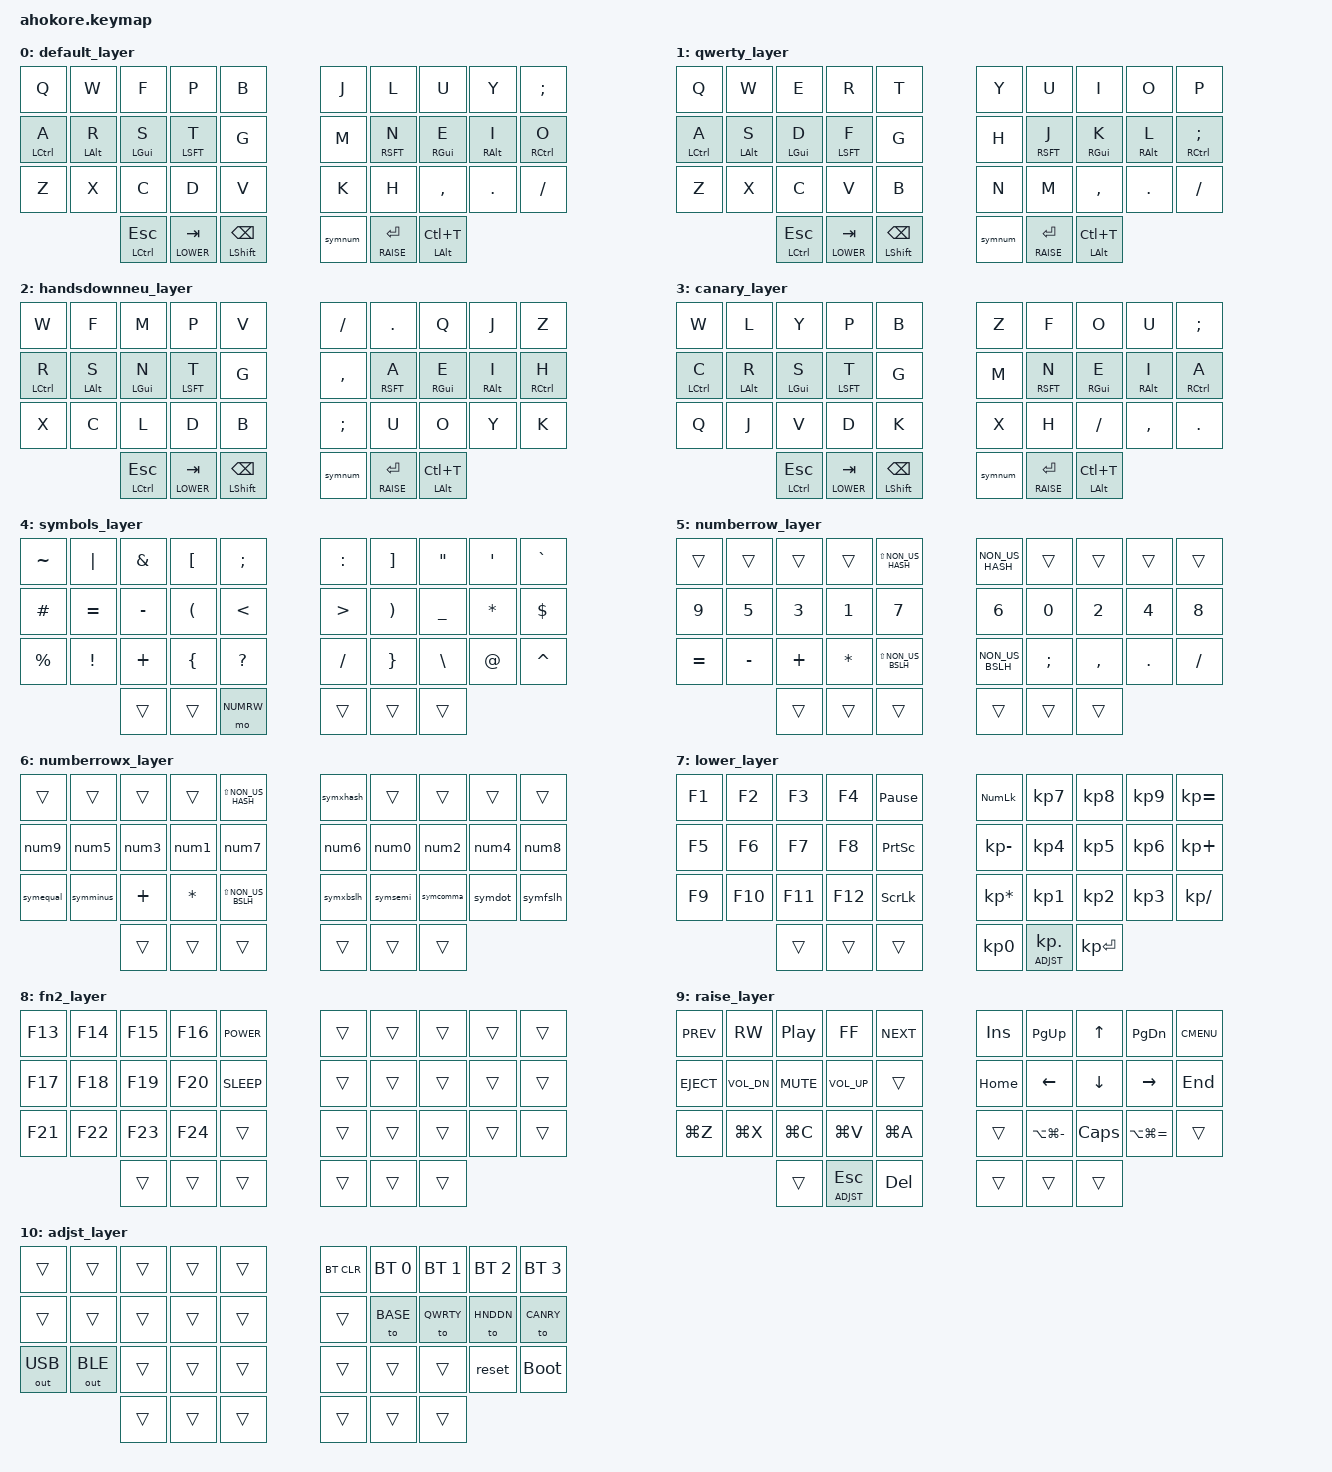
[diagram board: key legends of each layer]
/*
 * Copyright (c) 2020 The ZMK Contributors
 *
 * SPDX-License-Identifier: MIT
 */

#include <behaviors.dtsi>
#include <dt-bindings/zmk/keys.h>
#include <dt-bindings/zmk/bt.h>
#include <dt-bindings/zmk/outputs.h>

#define BASE  0     // alphas (Colemak-DH)
#define QWRTY 1     // alphas (Qwerty)
#define HNDDN 2     // alphas (Hands Down Neu)
#define CANRY 3     // alphas (Canary)
#define SYMBL 4     // symbols
#define NUMRW 5     // number row
#define NUMRX 6     // number row (shifted)
#define LOWER 7     // functions & keypad
#define FN2   8     // functions2
#define RAISE 9     // multimedia & navigation
#define ADJST 10    // bluetooth

// Special keys
#define ZOOMOUT      LA(LG(MINUS))
#define ZOOMIN       LA(LG(EQUAL))
#define M_UNDO       LG(Z)
#define M_CUT        LG(X)
#define M_COPY       LG(C)
#define M_PASTE      LG(V)
#define M_SELAL      LG(A)
#define M_TMUX       LC(T)
#define NON_US_TILDE LS(NON_US_HASH)
#define NON_US_PIPE  LS(NON_US_BSLH)

#define NUMROW_MACRO(name, key) \
    ZMK_MACRO(name, \
        wait-ms = <30>; \
        tap-ms = <30>; \
        bindings = <&macro_release &kp LSHFT>, <&macro_tap key>, <&macro_press &kp LSHFT>; \
    )

&mt {
    quick-tap-ms = <200>;
};

&lt {
    quick-tap-ms = <200>;
};


/ {
    behaviors {
        hm: homerow_mods {
            compatible = "zmk,behavior-hold-tap";
            label = "HOMEROW_MODS";
            #binding-cells = <2>;
            flavor = "tap-preferred";
            tapping_term_ms = <250>;
            quick_tap_ms = <250>;
            global-quick-tap;
            bindings = <&kp>, <&kp>;
        };

        symnum: symbol_numrow {
            compatible = "zmk,behavior-mod-morph";
            label = "SYMBOL_NUMROW";
            #binding-cells = <0>;
            bindings = <&lt SYMBL SPACE>, <&lt NUMRX SPACE>;
            mods = <(MOD_LSFT)>;
        };

// (Combos)
// -------------------------------     -------------------------------
// |     |     |     |     |     |     |     |     |     |     |     |
// |     |     |     |     |     |     |     |     |     |     |     |
// |     |     |     |     |     |     |     |     |     |     |     |
// ------------|<-- Fn2 -->|     |     |     |     |     |------------
//             -------------------     -------------------

        combos {
            compatible = "zmk,combos";
            combo_fn2 {
                timeout-ms = <50>;
                key-positions = <30 31>;
                bindings = <&mo FN2>;
                layers = <BASE QWRTY HNDDN CANRY>;
            };
        };
    };

    macros {
        NUMROW_MACRO(num0, &kp N0)
        NUMROW_MACRO(num1, &kp N1)
        NUMROW_MACRO(num2, &kp N2)
        NUMROW_MACRO(num3, &kp N3)
        NUMROW_MACRO(num4, &kp N4)
        NUMROW_MACRO(num5, &kp N5)
        NUMROW_MACRO(num6, &kp N6)
        NUMROW_MACRO(num7, &kp N7)
        NUMROW_MACRO(num8, &kp N8)
        NUMROW_MACRO(num9, &kp N9)
        NUMROW_MACRO(symequal, &kp EQUAL)
        NUMROW_MACRO(symminus, &kp MINUS)
        NUMROW_MACRO(symsemi,  &kp SEMI)
        NUMROW_MACRO(symcomma, &kp COMMA)
        NUMROW_MACRO(symdot,   &kp DOT)
        NUMROW_MACRO(symfslh,  &kp FSLH)
        NUMROW_MACRO(symxhash, &kp NON_US_HASH)
        NUMROW_MACRO(symxbslh, &kp NON_US_BSLH)
    };

    keymap {
        compatible = "zmk,keymap";

        default_layer {
// (Hold)
// -------------------------------     -------------------------------
// |     |     |     |     |     |     |     |     |     |     |     |
// |LCtrl| LAlt| LGui|Shift|     |     |     |Shift| RGui| RAlt|RCtrl|
// |     |     |     |     |     |     |     |     |     |     |     |
// ------------|LCtrl|LOWER|LShft|     |SYMBL|RAISE| LAlt|------------
//             -------------------     -------------------
// Colemak-DH
// -------------------------------     -------------------------------
// |  Q  |  W  |  F  |  P  |  B  |     |  J  |  L  |  U  |  Y  |  ;  |
// |  A  |  R  |  S  |  T  |  G  |     |  M  |  N  |  E  |  I  |  O  |
// |  Z  |  X  |  C  |  D  |  V  |     |  K  |  H  |  ,  |  .  |  /  |
// ------------| Esc | Tab |BkSpc|     |Space|Enter| Tmux|------------
//             -------------------     -------------------
            bindings = <
    &kp Q       &kp W      &kp F         &kp P         &kp B          &kp J   &kp L           &kp U           &kp Y      &kp SEMI
    &hm LCTRL A &hm LALT R &hm LGUI S    &hm LSFT T    &kp G          &kp M   &hm RSFT N      &hm RGUI E      &hm RALT I &hm RCTRL O
    &kp Z       &kp X      &kp C         &kp D         &kp V          &kp K   &kp H           &kp COMMA       &kp DOT    &kp FSLH
                           &mt LCTRL ESC &lt LOWER TAB &mt LSHFT BSPC &symnum &lt RAISE ENTER &mt LALT M_TMUX
            >;
        };

        qwerty_layer {
// (Hold)
// -------------------------------     -------------------------------
// |     |     |     |     |     |     |     |     |     |     |     |
// |LCtrl| LAlt| LGui|Shift|     |     |     |Shift| RGui| RAlt|RCtrl|
// |     |     |     |     |     |     |     |     |     |     |     |
// ------------|LCtrl|LOWER|LShft|     |SYMBL|RAISE| LAlt|------------
//             -------------------     -------------------
// Colemak-DH
// -------------------------------     -------------------------------
// |  Q  |  W  |  E  |  R  |  T  |     |  Y  |  U  |  I  |  O  |  P  |
// |  A  |  S  |  D  |  F  |  G  |     |  H  |  J  |  K  |  L  |  ;  |
// |  Z  |  X  |  C  |  V  |  B  |     |  N  |  M  |  ,  |  .  |  /  |
// ------------| Esc | Tab |BkSpc|     |Space|Enter| Tmux|------------
//             -------------------     -------------------
            bindings = <
    &kp Q       &kp W      &kp E         &kp R         &kp T          &kp Y   &kp U           &kp I           &kp O      &kp P
    &hm LCTRL A &hm LALT S &hm LGUI D    &hm LSFT F    &kp G          &kp H   &hm RSFT J      &hm RGUI K      &hm RALT L &hm RCTRL SEMI
    &kp Z       &kp X      &kp C         &kp V         &kp B          &kp N   &kp M           &kp COMMA       &kp DOT    &kp FSLH
                           &mt LCTRL ESC &lt LOWER TAB &mt LSHFT BSPC &symnum &lt RAISE ENTER &mt LALT M_TMUX
            >;
        };

        handsdownneu_layer {
// (Hold)
// -------------------------------     -------------------------------
// |     |     |     |     |     |     |     |     |     |     |     |
// |LCtrl| LAlt| LGui|Shift|     |     |     |Shift| RGui| RAlt|RCtrl|
// |     |     |     |     |     |     |     |     |     |     |     |
// ------------|LCtrl|LOWER|LShft|     |SYMBL|RAISE| LAlt|------------
//             -------------------     -------------------
// Hands Down Neu 30
// -------------------------------     -------------------------------
// |  W  |  F  |  M  |  P  |  V  |     |  /  |  .  |  Q  |  J  |  Z  |
// |  R  |  S  |  N  |  T  |  G  |     |  ,  |  A  |  E  |  I  |  H  |
// |  X  |  C  |  L  |  D  |  B  |     |  ;  |  U  |  O  |  Y  |  K  |
// ------------| Esc | Tab |BkSpc|     |Space|Enter| Tmux|------------
//             -------------------     -------------------
            bindings = <
    &kp W       &kp F      &kp M         &kp P         &kp V          &kp FSLH  &kp DOT         &kp Q           &kp J      &kp Z
    &hm LCTRL R &hm LALT S &hm LGUI N    &hm LSFT T    &kp G          &kp COMMA &hm RSFT A      &hm RGUI E      &hm RALT I &hm RCTRL H
    &kp X       &kp C      &kp L         &kp D         &kp B          &kp SEMI  &kp U           &kp O           &kp Y      &kp K
                           &mt LCTRL ESC &lt LOWER TAB &mt LSHFT BSPC &symnum   &lt RAISE ENTER &mt LALT M_TMUX
            >;
        };

        canary_layer {
// (Hold)
// -------------------------------     -------------------------------
// |     |     |     |     |     |     |     |     |     |     |     |
// |LCtrl| LAlt| LGui|Shift|     |     |     |Shift| RGui| RAlt|RCtrl|
// |     |     |     |     |     |     |     |     |     |     |     |
// ------------|LCtrl|LOWER|LShft|     |SYMBL|RAISE| LAlt|------------
//             -------------------     -------------------
// Canary (semicolon)
// -------------------------------     -------------------------------
// |  W  |  L  |  Y  |  P  |  B  |     |  Z  |  F  |  O  |  U  |  ;  |
// |  C  |  R  |  S  |  T  |  G  |     |  M  |  N  |  E  |  I  |  A  |
// |  Q  |  J  |  V  |  D  |  K  |     |  X  |  H  |  /  |  ,  |  .  |
// ------------| Esc | Tab |BkSpc|     |Space|Enter| Tmux|------------
//             -------------------     -------------------
            bindings = <
    &kp W       &kp L      &kp Y         &kp P         &kp B          &kp Z   &kp F           &kp O           &kp U      &kp SEMI
    &hm LCTRL C &hm LALT R &hm LGUI S    &hm LSFT T    &kp G          &kp M   &hm RSFT N      &hm RGUI E      &hm RALT I &hm RCTRL A
    &kp Q       &kp J      &kp V         &kp D         &kp K          &kp X   &kp H           &kp FSLH        &kp COMMA  &kp DOT
                           &mt LCTRL ESC &lt LOWER TAB &mt LSHFT BSPC &symnum &lt RAISE ENTER &mt LALT M_TMUX
            >;
        };

        symbols_layer {
// symbols
// -------------------------------     -------------------------------
// |  ~  |  |  |  &  |  [  |  ;  |     |  :  |  ]  |  "  |  '  |  `  |
// |  #  |  =  |  -  |  (  |  <  |     |  >  |  )  |  _  |  *  |  $  |
// |  %  |  !  |  +  |  {  |  ?  |     |  /  |  }  |  \  |  @  |  ^  |
// ------------|     |     |NUMRW|     | *** |     |     |------------
//             -------------------     -------------------
            bindings = <
   &kp TILDE &kp PIPE  &kp AMPS  &kp LBKT  &kp SEMI  &kp COLON &kp RBKT  &kp DQT   &kp SQT   &kp GRAVE 
   &kp HASH  &kp EQUAL &kp MINUS &kp LPAR  &kp LT    &kp GT    &kp RPAR  &kp UNDER &kp STAR  &kp DLLR
   &kp PRCNT &kp EXCL  &kp PLUS  &kp LBRC  &kp QMARK &kp FSLH  &kp RBRC  &kp BSLH  &kp AT    &kp CARET
                       &trans    &trans    &mo NUMRW &trans    &trans    &trans
            >;
        };

        numberrow_layer {
// number row
// -------------------------------     -------------------------------
// |     |     |     |     |nUS ~|     |nUS #|     |     |     |     |
// |  9  |  5  |  3  |  1  |  7  |     |  6  |  0  |  2  |  4  |  8  |
// |  =  |  -  |  +  |  *  |nUS ||     |nUS \|  ;  |  ,  |  .  |  /  |
// ------------|     |     | *** |     | *** |     |     |------------
//             -------------------     -------------------
            bindings = <
   &trans    &trans    &trans    &trans    &kp NON_US_TILDE &kp NON_US_HASH &trans    &trans    &trans    &trans
   &kp N9    &kp N5    &kp N3    &kp N1    &kp N7           &kp N6          &kp N0    &kp N2    &kp N4    &kp N8
   &kp EQUAL &kp MINUS &kp PLUS  &kp STAR  &kp NON_US_PIPE  &kp NON_US_BSLH &kp SEMI  &kp COMMA &kp DOT   &kp FSLH
                       &trans    &trans    &trans           &trans          &trans    &trans
            >;
        };

        numberrowx_layer {
            bindings = <
   &trans    &trans    &trans    &trans    &kp NON_US_TILDE &symxhash &trans    &trans    &trans    &trans
   &num9     &num5     &num3     &num1     &num7            &num6     &num0     &num2     &num4     &num8
   &symequal &symminus &kp PLUS  &kp STAR  &kp NON_US_PIPE  &symxbslh &symsemi  &symcomma &symdot   &symfslh
                       &trans    &trans    &trans           &trans    &trans    &trans
            >;
        };

        lower_layer {
// numbers and functions
// -------------------------------     -------------------------------
// | F1  | F2  | F3  | F4  |Pause|     |NumLk|  7  |  8  |  9  |  =  |
// | F5  | F6  | F7  | F8  |PrnSc|     |  -  |  4  |  5  |  6  |  +  |
// | F9  | F10 | F11 | F12 |ScrLk|     |  *  |  1  |  2  |  3  |  /  |
// ------------|     | *** |     |     |  0  |  .  |Enter|------------
//             -------------------     -------------------
            bindings = <
   &kp F1  &kp F2  &kp F3  &kp F4  &kp PAUSE_BREAK &kp KP_NUM      &kp KP_N7        &kp KP_N8  &kp KP_N9  &kp KP_EQUAL
   &kp F5  &kp F6  &kp F7  &kp F8  &kp PSCRN       &kp KP_MINUS    &kp KP_N4        &kp KP_N5  &kp KP_N6  &kp KP_PLUS
   &kp F9  &kp F10 &kp F11 &kp F12 &kp SLCK        &kp KP_MULTIPLY &kp KP_N1        &kp KP_N2  &kp KP_N3  &kp KP_DIVIDE
                   &trans  &trans  &trans          &kp KP_N0       &lt ADJST KP_DOT &kp KP_ENTER
            >;
        };

        fn2_layer {
// functions2
// -------------------------------     -------------------------------
// | F13 | F14 | F15 | F16 |Power|     |     |     |     |     |     |
// | F17 | F18 | F19 | F20 |Sleep|     |     |     |     |     |     |
// | F21 | F22 | F23 | F24 |Wake |     |     |     |     |     |     |
// ------------| *** | *** |     |     |     |     |     |------------
//             -------------------     -------------------
            bindings = <
   &kp F13 &kp F14 &kp F15 &kp F16 &kp C_POWER &trans  &trans  &trans  &trans  &trans
   &kp F17 &kp F18 &kp F19 &kp F20 &kp C_SLEEP &trans  &trans  &trans  &trans  &trans
   &kp F21 &kp F22 &kp F23 &kp F24 &trans      &trans  &trans  &trans  &trans  &trans
                   &trans  &trans  &trans      &trans  &trans  &trans
            >;
        };

        raise_layer {
// navigation and multimedia
// -------------------------------     -------------------------------
// |Prev |Rewnd|Stop |FFwd |Next |     | Ins |PgUp | Up  |PgDn |Menu |
// |Eject|Vol- |Mute |Vol+ |     |     |Home |Left |Down |Right| End |
// |Undo | Cut |Copy |Paste|SelAl|     |     |Zoom-|CapLk|Zoom+|     |
// ------------|     | Esc | Del |     |     | *** |     |------------
//             -------------------     -------------------
            bindings = <
   &kp C_PREV  &kp C_RW     &kp C_PP   &kp C_FF      &kp C_NEXT  &kp INS  &kp PG_UP   &kp UP   &kp PG_DN  &kp K_CMENU
   &kp C_EJECT &kp C_VOL_DN &kp K_MUTE &kp C_VOL_UP  &trans      &kp HOME &kp LEFT    &kp DOWN &kp RIGHT  &kp END
   &kp M_UNDO  &kp M_CUT    &kp M_COPY &kp M_PASTE   &kp M_SELAL &trans   &kp ZOOMOUT &kp CAPS &kp ZOOMIN &trans
                            &trans     &lt ADJST ESC &kp DEL     &trans   &trans      &trans
            >;
        };

        adjst_layer {
// Bluetooth
// -------------------------------     -------------------------------
// |     |     |     |     |     |     |BTClr| BT0 | BT1 | BT2 | BT3 |
// |     |     |     |     |     |     |     |Colmk|Qwrty|HndDn|Canry|
// | USB | BLE |     |     |     |     |     |     |     |Reset|BootL|
// ------------|     | *** |     |     |     | *** |     |------------
//             -------------------     -------------------
            bindings = <
   &trans       &trans       &trans &trans &trans  &bt BT_CLR &bt BT_SEL 0 &bt BT_SEL 1 &bt BT_SEL 2 &bt BT_SEL 3
   &trans       &trans       &trans &trans &trans  &trans     &to BASE     &to QWRTY    &to HNDDN    &to CANRY
   &out OUT_USB &out OUT_BLE &trans &trans &trans  &trans     &trans       &trans       &reset       &bootloader
                             &trans &trans &trans  &trans     &trans       &trans
            >;
        };
    };
};
